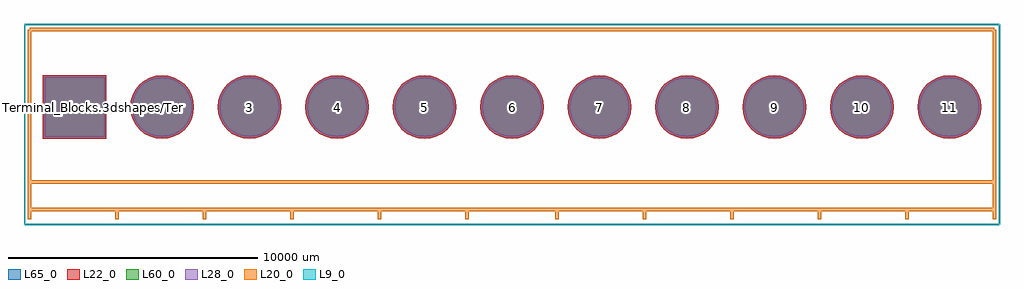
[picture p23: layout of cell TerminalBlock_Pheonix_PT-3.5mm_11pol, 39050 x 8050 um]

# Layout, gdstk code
import gdstk
lib = gdstk.Library(unit=1e-6, precision=1e-09)
def R(c, l, rs):  # rectangles x0, y0, x1, y1
    for r in rs: c.add(gdstk.rectangle(r[:2], r[2:], *l))
def P(c, l, *ps):  # polygons
    for p in ps: c.add(gdstk.Polygon(p, *l))
L9_0 = (9, 0)
L20_0 = (20, 0)
L22_0 = (22, 0)
L28_0 = (28, 0)
L60_0 = (60, 0)
L65_0 = (65, 0)

terminalblock_pheonix_pt = lib.new_cell('TerminalBlock_Pheonix_PT-3.5mm_11pol')
R(terminalblock_pheonix_pt, L22_0, [(-1275,-1275,1275,1275)])
P(terminalblock_pheonix_pt, L22_0, [(36275,0),(36250.501,248.74),(36177.946,487.921),(36060.124,708.352),(35901.561,901.561),(35708.352,1060.124),(35487.921,1177.946),(35248.74,1250.501),(35000,1275),(34751.26,1250.501),(34512.079,1177.946),(34291.648,1060.124),(34098.439,901.561),(33939.876,708.352),(33822.054,487.921),(33749.499,248.74),(33725,0),(33749.499,-248.74),(33822.054,-487.921),(33939.876,-708.352),(34098.439,-901.561),(34291.648,-1060.124),(34512.079,-1177.946),(34751.26,-1250.501),(35000,-1275),(35248.74,-1250.501),(35487.921,-1177.946),(35708.352,-1060.124),(35901.561,-901.561),(36060.124,-708.352),(36177.946,-487.921),(36250.501,-248.74)],
  [(32775,0),(32750.501,248.74),(32677.946,487.921),(32560.124,708.352),(32401.561,901.561),(32208.352,1060.124),(31987.921,1177.946),(31748.74,1250.501),(31500,1275),(31251.26,1250.501),(31012.079,1177.946),(30791.648,1060.124),(30598.439,901.561),(30439.876,708.352),(30322.054,487.921),(30249.499,248.74),(30225,0),(30249.499,-248.74),(30322.054,-487.921),(30439.876,-708.352),(30598.439,-901.561),(30791.648,-1060.124),(31012.079,-1177.946),(31251.26,-1250.501),(31500,-1275),(31748.74,-1250.501),(31987.921,-1177.946),(32208.352,-1060.124),(32401.561,-901.561),(32560.124,-708.352),(32677.946,-487.921),(32750.501,-248.74)],
  [(29275,0),(29250.501,248.74),(29177.946,487.921),(29060.124,708.352),(28901.561,901.561),(28708.352,1060.124),(28487.921,1177.946),(28248.74,1250.501),(28000,1275),(27751.26,1250.501),(27512.079,1177.946),(27291.648,1060.124),(27098.439,901.561),(26939.876,708.352),(26822.054,487.921),(26749.499,248.74),(26725,0),(26749.499,-248.74),(26822.054,-487.921),(26939.876,-708.352),(27098.439,-901.561),(27291.648,-1060.124),(27512.079,-1177.946),(27751.26,-1250.501),(28000,-1275),(28248.74,-1250.501),(28487.921,-1177.946),(28708.352,-1060.124),(28901.561,-901.561),(29060.124,-708.352),(29177.946,-487.921),(29250.501,-248.74)],
  [(25775,0),(25750.501,248.74),(25677.946,487.921),(25560.124,708.352),(25401.561,901.561),(25208.352,1060.124),(24987.921,1177.946),(24748.74,1250.501),(24500,1275),(24251.26,1250.501),(24012.079,1177.946),(23791.648,1060.124),(23598.439,901.561),(23439.876,708.352),(23322.054,487.921),(23249.499,248.74),(23225,0),(23249.499,-248.74),(23322.054,-487.921),(23439.876,-708.352),(23598.439,-901.561),(23791.648,-1060.124),(24012.079,-1177.946),(24251.26,-1250.501),(24500,-1275),(24748.74,-1250.501),(24987.921,-1177.946),(25208.352,-1060.124),(25401.561,-901.561),(25560.124,-708.352),(25677.946,-487.921),(25750.501,-248.74)],
  [(22275,0),(22250.501,248.74),(22177.946,487.921),(22060.124,708.352),(21901.561,901.561),(21708.352,1060.124),(21487.921,1177.946),(21248.74,1250.501),(21000,1275),(20751.26,1250.501),(20512.079,1177.946),(20291.648,1060.124),(20098.439,901.561),(19939.876,708.352),(19822.054,487.921),(19749.499,248.74),(19725,0),(19749.499,-248.74),(19822.054,-487.921),(19939.876,-708.352),(20098.439,-901.561),(20291.648,-1060.124),(20512.079,-1177.946),(20751.26,-1250.501),(21000,-1275),(21248.74,-1250.501),(21487.921,-1177.946),(21708.352,-1060.124),(21901.561,-901.561),(22060.124,-708.352),(22177.946,-487.921),(22250.501,-248.74)],
  [(18775,0),(18750.501,248.74),(18677.946,487.921),(18560.124,708.352),(18401.561,901.561),(18208.352,1060.124),(17987.921,1177.946),(17748.74,1250.501),(17500,1275),(17251.26,1250.501),(17012.079,1177.946),(16791.648,1060.124),(16598.439,901.561),(16439.876,708.352),(16322.054,487.921),(16249.499,248.74),(16225,0),(16249.499,-248.74),(16322.054,-487.921),(16439.876,-708.352),(16598.439,-901.561),(16791.648,-1060.124),(17012.079,-1177.946),(17251.26,-1250.501),(17500,-1275),(17748.74,-1250.501),(17987.921,-1177.946),(18208.352,-1060.124),(18401.561,-901.561),(18560.124,-708.352),(18677.946,-487.921),(18750.501,-248.74)],
  [(15275,0),(15250.501,248.74),(15177.946,487.921),(15060.124,708.352),(14901.561,901.561),(14708.352,1060.124),(14487.921,1177.946),(14248.74,1250.501),(14000,1275),(13751.26,1250.501),(13512.079,1177.946),(13291.648,1060.124),(13098.439,901.561),(12939.876,708.352),(12822.054,487.921),(12749.499,248.74),(12725,0),(12749.499,-248.74),(12822.054,-487.921),(12939.876,-708.352),(13098.439,-901.561),(13291.648,-1060.124),(13512.079,-1177.946),(13751.26,-1250.501),(14000,-1275),(14248.74,-1250.501),(14487.921,-1177.946),(14708.352,-1060.124),(14901.561,-901.561),(15060.124,-708.352),(15177.946,-487.921),(15250.501,-248.74)],
  [(11775,0),(11750.501,248.74),(11677.946,487.921),(11560.124,708.352),(11401.561,901.561),(11208.352,1060.124),(10987.921,1177.946),(10748.74,1250.501),(10500,1275),(10251.26,1250.501),(10012.079,1177.946),(9791.648,1060.124),(9598.439,901.561),(9439.876,708.352),(9322.054,487.921),(9249.499,248.74),(9225,0),(9249.499,-248.74),(9322.054,-487.921),(9439.876,-708.352),(9598.439,-901.561),(9791.648,-1060.124),(10012.079,-1177.946),(10251.26,-1250.501),(10500,-1275),(10748.74,-1250.501),(10987.921,-1177.946),(11208.352,-1060.124),(11401.561,-901.561),(11560.124,-708.352),(11677.946,-487.921),(11750.501,-248.74)],
  [(8275,0),(8250.501,248.74),(8177.946,487.921),(8060.124,708.352),(7901.561,901.561),(7708.352,1060.124),(7487.921,1177.946),(7248.74,1250.501),(7000,1275),(6751.26,1250.501),(6512.079,1177.946),(6291.648,1060.124),(6098.439,901.561),(5939.876,708.352),(5822.054,487.921),(5749.499,248.74),(5725,0),(5749.499,-248.74),(5822.054,-487.921),(5939.876,-708.352),(6098.439,-901.561),(6291.648,-1060.124),(6512.079,-1177.946),(6751.26,-1250.501),(7000,-1275),(7248.74,-1250.501),(7487.921,-1177.946),(7708.352,-1060.124),(7901.561,-901.561),(8060.124,-708.352),(8177.946,-487.921),(8250.501,-248.74)],
  [(4775,0),(4750.501,248.74),(4677.946,487.921),(4560.124,708.352),(4401.561,901.561),(4208.352,1060.124),(3987.921,1177.946),(3748.74,1250.501),(3500,1275),(3251.26,1250.501),(3012.079,1177.946),(2791.648,1060.124),(2598.439,901.561),(2439.876,708.352),(2322.054,487.921),(2249.499,248.74),(2225,0),(2249.499,-248.74),(2322.054,-487.921),(2439.876,-708.352),(2598.439,-901.561),(2791.648,-1060.124),(3012.079,-1177.946),(3251.26,-1250.501),(3500,-1275),(3748.74,-1250.501),(3987.921,-1177.946),(4208.352,-1060.124),(4401.561,-901.561),(4560.124,-708.352),(4677.946,-487.921),(4750.501,-248.74)])
R(terminalblock_pheonix_pt, L28_0, [(-1200,-1200,1200,1200)])
P(terminalblock_pheonix_pt, L28_0, [(36200,0),(36176.942,234.108),(36108.655,459.22),(35997.764,666.684),(35848.528,848.528),(35666.684,997.764),(35459.22,1108.655),(35234.108,1176.942),(35000,1200),(34765.892,1176.942),(34540.78,1108.655),(34333.316,997.764),(34151.472,848.528),(34002.236,666.684),(33891.345,459.22),(33823.058,234.108),(33800,0),(33823.058,-234.108),(33891.345,-459.22),(34002.236,-666.684),(34151.472,-848.528),(34333.316,-997.764),(34540.78,-1108.655),(34765.892,-1176.942),(35000,-1200),(35234.108,-1176.942),(35459.22,-1108.655),(35666.684,-997.764),(35848.528,-848.528),(35997.764,-666.684),(36108.655,-459.22),(36176.942,-234.108)],
  [(32700,0),(32676.942,234.108),(32608.655,459.22),(32497.764,666.684),(32348.528,848.528),(32166.684,997.764),(31959.22,1108.655),(31734.108,1176.942),(31500,1200),(31265.892,1176.942),(31040.78,1108.655),(30833.316,997.764),(30651.472,848.528),(30502.236,666.684),(30391.345,459.22),(30323.058,234.108),(30300,0),(30323.058,-234.108),(30391.345,-459.22),(30502.236,-666.684),(30651.472,-848.528),(30833.316,-997.764),(31040.78,-1108.655),(31265.892,-1176.942),(31500,-1200),(31734.108,-1176.942),(31959.22,-1108.655),(32166.684,-997.764),(32348.528,-848.528),(32497.764,-666.684),(32608.655,-459.22),(32676.942,-234.108)],
  [(29200,0),(29176.942,234.108),(29108.655,459.22),(28997.764,666.684),(28848.528,848.528),(28666.684,997.764),(28459.22,1108.655),(28234.108,1176.942),(28000,1200),(27765.892,1176.942),(27540.78,1108.655),(27333.316,997.764),(27151.472,848.528),(27002.236,666.684),(26891.345,459.22),(26823.058,234.108),(26800,0),(26823.058,-234.108),(26891.345,-459.22),(27002.236,-666.684),(27151.472,-848.528),(27333.316,-997.764),(27540.78,-1108.655),(27765.892,-1176.942),(28000,-1200),(28234.108,-1176.942),(28459.22,-1108.655),(28666.684,-997.764),(28848.528,-848.528),(28997.764,-666.684),(29108.655,-459.22),(29176.942,-234.108)],
  [(25700,0),(25676.942,234.108),(25608.655,459.22),(25497.764,666.684),(25348.528,848.528),(25166.684,997.764),(24959.22,1108.655),(24734.108,1176.942),(24500,1200),(24265.892,1176.942),(24040.78,1108.655),(23833.316,997.764),(23651.472,848.528),(23502.236,666.684),(23391.345,459.22),(23323.058,234.108),(23300,0),(23323.058,-234.108),(23391.345,-459.22),(23502.236,-666.684),(23651.472,-848.528),(23833.316,-997.764),(24040.78,-1108.655),(24265.892,-1176.942),(24500,-1200),(24734.108,-1176.942),(24959.22,-1108.655),(25166.684,-997.764),(25348.528,-848.528),(25497.764,-666.684),(25608.655,-459.22),(25676.942,-234.108)],
  [(22200,0),(22176.942,234.108),(22108.655,459.22),(21997.764,666.684),(21848.528,848.528),(21666.684,997.764),(21459.22,1108.655),(21234.108,1176.942),(21000,1200),(20765.892,1176.942),(20540.78,1108.655),(20333.316,997.764),(20151.472,848.528),(20002.236,666.684),(19891.345,459.22),(19823.058,234.108),(19800,0),(19823.058,-234.108),(19891.345,-459.22),(20002.236,-666.684),(20151.472,-848.528),(20333.316,-997.764),(20540.78,-1108.655),(20765.892,-1176.942),(21000,-1200),(21234.108,-1176.942),(21459.22,-1108.655),(21666.684,-997.764),(21848.528,-848.528),(21997.764,-666.684),(22108.655,-459.22),(22176.942,-234.108)],
  [(18700,0),(18676.942,234.108),(18608.655,459.22),(18497.764,666.684),(18348.528,848.528),(18166.684,997.764),(17959.22,1108.655),(17734.108,1176.942),(17500,1200),(17265.892,1176.942),(17040.78,1108.655),(16833.316,997.764),(16651.472,848.528),(16502.236,666.684),(16391.345,459.22),(16323.058,234.108),(16300,0),(16323.058,-234.108),(16391.345,-459.22),(16502.236,-666.684),(16651.472,-848.528),(16833.316,-997.764),(17040.78,-1108.655),(17265.892,-1176.942),(17500,-1200),(17734.108,-1176.942),(17959.22,-1108.655),(18166.684,-997.764),(18348.528,-848.528),(18497.764,-666.684),(18608.655,-459.22),(18676.942,-234.108)],
  [(15200,0),(15176.942,234.108),(15108.655,459.22),(14997.764,666.684),(14848.528,848.528),(14666.684,997.764),(14459.22,1108.655),(14234.108,1176.942),(14000,1200),(13765.892,1176.942),(13540.78,1108.655),(13333.316,997.764),(13151.472,848.528),(13002.236,666.684),(12891.345,459.22),(12823.058,234.108),(12800,0),(12823.058,-234.108),(12891.345,-459.22),(13002.236,-666.684),(13151.472,-848.528),(13333.316,-997.764),(13540.78,-1108.655),(13765.892,-1176.942),(14000,-1200),(14234.108,-1176.942),(14459.22,-1108.655),(14666.684,-997.764),(14848.528,-848.528),(14997.764,-666.684),(15108.655,-459.22),(15176.942,-234.108)],
  [(11700,0),(11676.942,234.108),(11608.655,459.22),(11497.764,666.684),(11348.528,848.528),(11166.684,997.764),(10959.22,1108.655),(10734.108,1176.942),(10500,1200),(10265.892,1176.942),(10040.78,1108.655),(9833.316,997.764),(9651.472,848.528),(9502.236,666.684),(9391.345,459.22),(9323.058,234.108),(9300,0),(9323.058,-234.108),(9391.345,-459.22),(9502.236,-666.684),(9651.472,-848.528),(9833.316,-997.764),(10040.78,-1108.655),(10265.892,-1176.942),(10500,-1200),(10734.108,-1176.942),(10959.22,-1108.655),(11166.684,-997.764),(11348.528,-848.528),(11497.764,-666.684),(11608.655,-459.22),(11676.942,-234.108)],
  [(8200,0),(8176.942,234.108),(8108.655,459.22),(7997.764,666.684),(7848.528,848.528),(7666.684,997.764),(7459.22,1108.655),(7234.108,1176.942),(7000,1200),(6765.892,1176.942),(6540.78,1108.655),(6333.316,997.764),(6151.472,848.528),(6002.236,666.684),(5891.345,459.22),(5823.058,234.108),(5800,0),(5823.058,-234.108),(5891.345,-459.22),(6002.236,-666.684),(6151.472,-848.528),(6333.316,-997.764),(6540.78,-1108.655),(6765.892,-1176.942),(7000,-1200),(7234.108,-1176.942),(7459.22,-1108.655),(7666.684,-997.764),(7848.528,-848.528),(7997.764,-666.684),(8108.655,-459.22),(8176.942,-234.108)],
  [(4700,0),(4676.942,234.108),(4608.655,459.22),(4497.764,666.684),(4348.528,848.528),(4166.684,997.764),(3959.22,1108.655),(3734.108,1176.942),(3500,1200),(3265.892,1176.942),(3040.78,1108.655),(2833.316,997.764),(2651.472,848.528),(2502.236,666.684),(2391.345,459.22),(2323.058,234.108),(2300,0),(2323.058,-234.108),(2391.345,-459.22),(2502.236,-666.684),(2651.472,-848.528),(2833.316,-997.764),(3040.78,-1108.655),(3265.892,-1176.942),(3500,-1200),(3734.108,-1176.942),(3959.22,-1108.655),(4166.684,-997.764),(4348.528,-848.528),(4497.764,-666.684),(4608.655,-459.22),(4676.942,-234.108)])
R(terminalblock_pheonix_pt, L60_0, [(-1200,-1200,1200,1200)])
P(terminalblock_pheonix_pt, L60_0, [(36200,0),(36176.942,234.108),(36108.655,459.22),(35997.764,666.684),(35848.528,848.528),(35666.684,997.764),(35459.22,1108.655),(35234.108,1176.942),(35000,1200),(34765.892,1176.942),(34540.78,1108.655),(34333.316,997.764),(34151.472,848.528),(34002.236,666.684),(33891.345,459.22),(33823.058,234.108),(33800,0),(33823.058,-234.108),(33891.345,-459.22),(34002.236,-666.684),(34151.472,-848.528),(34333.316,-997.764),(34540.78,-1108.655),(34765.892,-1176.942),(35000,-1200),(35234.108,-1176.942),(35459.22,-1108.655),(35666.684,-997.764),(35848.528,-848.528),(35997.764,-666.684),(36108.655,-459.22),(36176.942,-234.108)],
  [(32700,0),(32676.942,234.108),(32608.655,459.22),(32497.764,666.684),(32348.528,848.528),(32166.684,997.764),(31959.22,1108.655),(31734.108,1176.942),(31500,1200),(31265.892,1176.942),(31040.78,1108.655),(30833.316,997.764),(30651.472,848.528),(30502.236,666.684),(30391.345,459.22),(30323.058,234.108),(30300,0),(30323.058,-234.108),(30391.345,-459.22),(30502.236,-666.684),(30651.472,-848.528),(30833.316,-997.764),(31040.78,-1108.655),(31265.892,-1176.942),(31500,-1200),(31734.108,-1176.942),(31959.22,-1108.655),(32166.684,-997.764),(32348.528,-848.528),(32497.764,-666.684),(32608.655,-459.22),(32676.942,-234.108)],
  [(29200,0),(29176.942,234.108),(29108.655,459.22),(28997.764,666.684),(28848.528,848.528),(28666.684,997.764),(28459.22,1108.655),(28234.108,1176.942),(28000,1200),(27765.892,1176.942),(27540.78,1108.655),(27333.316,997.764),(27151.472,848.528),(27002.236,666.684),(26891.345,459.22),(26823.058,234.108),(26800,0),(26823.058,-234.108),(26891.345,-459.22),(27002.236,-666.684),(27151.472,-848.528),(27333.316,-997.764),(27540.78,-1108.655),(27765.892,-1176.942),(28000,-1200),(28234.108,-1176.942),(28459.22,-1108.655),(28666.684,-997.764),(28848.528,-848.528),(28997.764,-666.684),(29108.655,-459.22),(29176.942,-234.108)],
  [(25700,0),(25676.942,234.108),(25608.655,459.22),(25497.764,666.684),(25348.528,848.528),(25166.684,997.764),(24959.22,1108.655),(24734.108,1176.942),(24500,1200),(24265.892,1176.942),(24040.78,1108.655),(23833.316,997.764),(23651.472,848.528),(23502.236,666.684),(23391.345,459.22),(23323.058,234.108),(23300,0),(23323.058,-234.108),(23391.345,-459.22),(23502.236,-666.684),(23651.472,-848.528),(23833.316,-997.764),(24040.78,-1108.655),(24265.892,-1176.942),(24500,-1200),(24734.108,-1176.942),(24959.22,-1108.655),(25166.684,-997.764),(25348.528,-848.528),(25497.764,-666.684),(25608.655,-459.22),(25676.942,-234.108)],
  [(22200,0),(22176.942,234.108),(22108.655,459.22),(21997.764,666.684),(21848.528,848.528),(21666.684,997.764),(21459.22,1108.655),(21234.108,1176.942),(21000,1200),(20765.892,1176.942),(20540.78,1108.655),(20333.316,997.764),(20151.472,848.528),(20002.236,666.684),(19891.345,459.22),(19823.058,234.108),(19800,0),(19823.058,-234.108),(19891.345,-459.22),(20002.236,-666.684),(20151.472,-848.528),(20333.316,-997.764),(20540.78,-1108.655),(20765.892,-1176.942),(21000,-1200),(21234.108,-1176.942),(21459.22,-1108.655),(21666.684,-997.764),(21848.528,-848.528),(21997.764,-666.684),(22108.655,-459.22),(22176.942,-234.108)],
  [(18700,0),(18676.942,234.108),(18608.655,459.22),(18497.764,666.684),(18348.528,848.528),(18166.684,997.764),(17959.22,1108.655),(17734.108,1176.942),(17500,1200),(17265.892,1176.942),(17040.78,1108.655),(16833.316,997.764),(16651.472,848.528),(16502.236,666.684),(16391.345,459.22),(16323.058,234.108),(16300,0),(16323.058,-234.108),(16391.345,-459.22),(16502.236,-666.684),(16651.472,-848.528),(16833.316,-997.764),(17040.78,-1108.655),(17265.892,-1176.942),(17500,-1200),(17734.108,-1176.942),(17959.22,-1108.655),(18166.684,-997.764),(18348.528,-848.528),(18497.764,-666.684),(18608.655,-459.22),(18676.942,-234.108)],
  [(15200,0),(15176.942,234.108),(15108.655,459.22),(14997.764,666.684),(14848.528,848.528),(14666.684,997.764),(14459.22,1108.655),(14234.108,1176.942),(14000,1200),(13765.892,1176.942),(13540.78,1108.655),(13333.316,997.764),(13151.472,848.528),(13002.236,666.684),(12891.345,459.22),(12823.058,234.108),(12800,0),(12823.058,-234.108),(12891.345,-459.22),(13002.236,-666.684),(13151.472,-848.528),(13333.316,-997.764),(13540.78,-1108.655),(13765.892,-1176.942),(14000,-1200),(14234.108,-1176.942),(14459.22,-1108.655),(14666.684,-997.764),(14848.528,-848.528),(14997.764,-666.684),(15108.655,-459.22),(15176.942,-234.108)],
  [(11700,0),(11676.942,234.108),(11608.655,459.22),(11497.764,666.684),(11348.528,848.528),(11166.684,997.764),(10959.22,1108.655),(10734.108,1176.942),(10500,1200),(10265.892,1176.942),(10040.78,1108.655),(9833.316,997.764),(9651.472,848.528),(9502.236,666.684),(9391.345,459.22),(9323.058,234.108),(9300,0),(9323.058,-234.108),(9391.345,-459.22),(9502.236,-666.684),(9651.472,-848.528),(9833.316,-997.764),(10040.78,-1108.655),(10265.892,-1176.942),(10500,-1200),(10734.108,-1176.942),(10959.22,-1108.655),(11166.684,-997.764),(11348.528,-848.528),(11497.764,-666.684),(11608.655,-459.22),(11676.942,-234.108)],
  [(8200,0),(8176.942,234.108),(8108.655,459.22),(7997.764,666.684),(7848.528,848.528),(7666.684,997.764),(7459.22,1108.655),(7234.108,1176.942),(7000,1200),(6765.892,1176.942),(6540.78,1108.655),(6333.316,997.764),(6151.472,848.528),(6002.236,666.684),(5891.345,459.22),(5823.058,234.108),(5800,0),(5823.058,-234.108),(5891.345,-459.22),(6002.236,-666.684),(6151.472,-848.528),(6333.316,-997.764),(6540.78,-1108.655),(6765.892,-1176.942),(7000,-1200),(7234.108,-1176.942),(7459.22,-1108.655),(7666.684,-997.764),(7848.528,-848.528),(7997.764,-666.684),(8108.655,-459.22),(8176.942,-234.108)],
  [(4700,0),(4676.942,234.108),(4608.655,459.22),(4497.764,666.684),(4348.528,848.528),(4166.684,997.764),(3959.22,1108.655),(3734.108,1176.942),(3500,1200),(3265.892,1176.942),(3040.78,1108.655),(2833.316,997.764),(2651.472,848.528),(2502.236,666.684),(2391.345,459.22),(2323.058,234.108),(2300,0),(2323.058,-234.108),(2391.345,-459.22),(2502.236,-666.684),(2651.472,-848.528),(2833.316,-997.764),(3040.78,-1108.655),(3265.892,-1176.942),(3500,-1200),(3734.108,-1176.942),(3959.22,-1108.655),(4166.684,-997.764),(4348.528,-848.528),(4497.764,-666.684),(4608.655,-459.22),(4676.942,-234.108)])
R(terminalblock_pheonix_pt, L65_0, [(-1275,-1275,1275,1275)])
P(terminalblock_pheonix_pt, L65_0, [(36275,0),(36250.501,248.74),(36177.946,487.921),(36060.124,708.352),(35901.561,901.561),(35708.352,1060.124),(35487.921,1177.946),(35248.74,1250.501),(35000,1275),(34751.26,1250.501),(34512.079,1177.946),(34291.648,1060.124),(34098.439,901.561),(33939.876,708.352),(33822.054,487.921),(33749.499,248.74),(33725,0),(33749.499,-248.74),(33822.054,-487.921),(33939.876,-708.352),(34098.439,-901.561),(34291.648,-1060.124),(34512.079,-1177.946),(34751.26,-1250.501),(35000,-1275),(35248.74,-1250.501),(35487.921,-1177.946),(35708.352,-1060.124),(35901.561,-901.561),(36060.124,-708.352),(36177.946,-487.921),(36250.501,-248.74)],
  [(32775,0),(32750.501,248.74),(32677.946,487.921),(32560.124,708.352),(32401.561,901.561),(32208.352,1060.124),(31987.921,1177.946),(31748.74,1250.501),(31500,1275),(31251.26,1250.501),(31012.079,1177.946),(30791.648,1060.124),(30598.439,901.561),(30439.876,708.352),(30322.054,487.921),(30249.499,248.74),(30225,0),(30249.499,-248.74),(30322.054,-487.921),(30439.876,-708.352),(30598.439,-901.561),(30791.648,-1060.124),(31012.079,-1177.946),(31251.26,-1250.501),(31500,-1275),(31748.74,-1250.501),(31987.921,-1177.946),(32208.352,-1060.124),(32401.561,-901.561),(32560.124,-708.352),(32677.946,-487.921),(32750.501,-248.74)],
  [(29275,0),(29250.501,248.74),(29177.946,487.921),(29060.124,708.352),(28901.561,901.561),(28708.352,1060.124),(28487.921,1177.946),(28248.74,1250.501),(28000,1275),(27751.26,1250.501),(27512.079,1177.946),(27291.648,1060.124),(27098.439,901.561),(26939.876,708.352),(26822.054,487.921),(26749.499,248.74),(26725,0),(26749.499,-248.74),(26822.054,-487.921),(26939.876,-708.352),(27098.439,-901.561),(27291.648,-1060.124),(27512.079,-1177.946),(27751.26,-1250.501),(28000,-1275),(28248.74,-1250.501),(28487.921,-1177.946),(28708.352,-1060.124),(28901.561,-901.561),(29060.124,-708.352),(29177.946,-487.921),(29250.501,-248.74)],
  [(25775,0),(25750.501,248.74),(25677.946,487.921),(25560.124,708.352),(25401.561,901.561),(25208.352,1060.124),(24987.921,1177.946),(24748.74,1250.501),(24500,1275),(24251.26,1250.501),(24012.079,1177.946),(23791.648,1060.124),(23598.439,901.561),(23439.876,708.352),(23322.054,487.921),(23249.499,248.74),(23225,0),(23249.499,-248.74),(23322.054,-487.921),(23439.876,-708.352),(23598.439,-901.561),(23791.648,-1060.124),(24012.079,-1177.946),(24251.26,-1250.501),(24500,-1275),(24748.74,-1250.501),(24987.921,-1177.946),(25208.352,-1060.124),(25401.561,-901.561),(25560.124,-708.352),(25677.946,-487.921),(25750.501,-248.74)],
  [(22275,0),(22250.501,248.74),(22177.946,487.921),(22060.124,708.352),(21901.561,901.561),(21708.352,1060.124),(21487.921,1177.946),(21248.74,1250.501),(21000,1275),(20751.26,1250.501),(20512.079,1177.946),(20291.648,1060.124),(20098.439,901.561),(19939.876,708.352),(19822.054,487.921),(19749.499,248.74),(19725,0),(19749.499,-248.74),(19822.054,-487.921),(19939.876,-708.352),(20098.439,-901.561),(20291.648,-1060.124),(20512.079,-1177.946),(20751.26,-1250.501),(21000,-1275),(21248.74,-1250.501),(21487.921,-1177.946),(21708.352,-1060.124),(21901.561,-901.561),(22060.124,-708.352),(22177.946,-487.921),(22250.501,-248.74)],
  [(18775,0),(18750.501,248.74),(18677.946,487.921),(18560.124,708.352),(18401.561,901.561),(18208.352,1060.124),(17987.921,1177.946),(17748.74,1250.501),(17500,1275),(17251.26,1250.501),(17012.079,1177.946),(16791.648,1060.124),(16598.439,901.561),(16439.876,708.352),(16322.054,487.921),(16249.499,248.74),(16225,0),(16249.499,-248.74),(16322.054,-487.921),(16439.876,-708.352),(16598.439,-901.561),(16791.648,-1060.124),(17012.079,-1177.946),(17251.26,-1250.501),(17500,-1275),(17748.74,-1250.501),(17987.921,-1177.946),(18208.352,-1060.124),(18401.561,-901.561),(18560.124,-708.352),(18677.946,-487.921),(18750.501,-248.74)],
  [(15275,0),(15250.501,248.74),(15177.946,487.921),(15060.124,708.352),(14901.561,901.561),(14708.352,1060.124),(14487.921,1177.946),(14248.74,1250.501),(14000,1275),(13751.26,1250.501),(13512.079,1177.946),(13291.648,1060.124),(13098.439,901.561),(12939.876,708.352),(12822.054,487.921),(12749.499,248.74),(12725,0),(12749.499,-248.74),(12822.054,-487.921),(12939.876,-708.352),(13098.439,-901.561),(13291.648,-1060.124),(13512.079,-1177.946),(13751.26,-1250.501),(14000,-1275),(14248.74,-1250.501),(14487.921,-1177.946),(14708.352,-1060.124),(14901.561,-901.561),(15060.124,-708.352),(15177.946,-487.921),(15250.501,-248.74)],
  [(11775,0),(11750.501,248.74),(11677.946,487.921),(11560.124,708.352),(11401.561,901.561),(11208.352,1060.124),(10987.921,1177.946),(10748.74,1250.501),(10500,1275),(10251.26,1250.501),(10012.079,1177.946),(9791.648,1060.124),(9598.439,901.561),(9439.876,708.352),(9322.054,487.921),(9249.499,248.74),(9225,0),(9249.499,-248.74),(9322.054,-487.921),(9439.876,-708.352),(9598.439,-901.561),(9791.648,-1060.124),(10012.079,-1177.946),(10251.26,-1250.501),(10500,-1275),(10748.74,-1250.501),(10987.921,-1177.946),(11208.352,-1060.124),(11401.561,-901.561),(11560.124,-708.352),(11677.946,-487.921),(11750.501,-248.74)],
  [(8275,0),(8250.501,248.74),(8177.946,487.921),(8060.124,708.352),(7901.561,901.561),(7708.352,1060.124),(7487.921,1177.946),(7248.74,1250.501),(7000,1275),(6751.26,1250.501),(6512.079,1177.946),(6291.648,1060.124),(6098.439,901.561),(5939.876,708.352),(5822.054,487.921),(5749.499,248.74),(5725,0),(5749.499,-248.74),(5822.054,-487.921),(5939.876,-708.352),(6098.439,-901.561),(6291.648,-1060.124),(6512.079,-1177.946),(6751.26,-1250.501),(7000,-1275),(7248.74,-1250.501),(7487.921,-1177.946),(7708.352,-1060.124),(7901.561,-901.561),(8060.124,-708.352),(8177.946,-487.921),(8250.501,-248.74)],
  [(4775,0),(4750.501,248.74),(4677.946,487.921),(4560.124,708.352),(4401.561,901.561),(4208.352,1060.124),(3987.921,1177.946),(3748.74,1250.501),(3500,1275),(3251.26,1250.501),(3012.079,1177.946),(2791.648,1060.124),(2598.439,901.561),(2439.876,708.352),(2322.054,487.921),(2249.499,248.74),(2225,0),(2249.499,-248.74),(2322.054,-487.921),(2439.876,-708.352),(2598.439,-901.561),(2791.648,-1060.124),(3012.079,-1177.946),(3251.26,-1250.501),(3500,-1275),(3748.74,-1250.501),(3987.921,-1177.946),(4208.352,-1060.124),(4401.561,-901.561),(4560.124,-708.352),(4677.946,-487.921),(4750.501,-248.74)])
terminalblock_pheonix_pt.add(gdstk.FlexPath([(36800,3100),(-1800,3100)], 149.998, ends="flush", simple_path=True, layer=20, datatype=0))  # L20_0
terminalblock_pheonix_pt.add(gdstk.FlexPath([(36800,-4500),(36800,3100)], 149.998, ends="flush", simple_path=True, layer=20, datatype=0))  # L20_0
terminalblock_pheonix_pt.add(gdstk.FlexPath([(-1800,3100),(-1800,-4500)], 149.998, ends="flush", simple_path=True, layer=20, datatype=0))  # L20_0
terminalblock_pheonix_pt.add(gdstk.FlexPath([(-1800,-4100),(36800,-4100)], 149.998, ends="flush", simple_path=True, layer=20, datatype=0))  # L20_0
terminalblock_pheonix_pt.add(gdstk.FlexPath([(-1800,-3000),(36800,-3000)], 149.998, ends="flush", simple_path=True, layer=20, datatype=0))  # L20_0
terminalblock_pheonix_pt.add(gdstk.FlexPath([(5200,-4100),(5200,-4500)], 149.998, ends="flush", simple_path=True, layer=20, datatype=0))  # L20_0
terminalblock_pheonix_pt.add(gdstk.FlexPath([(1700,-4100),(1700,-4500)], 149.998, ends="flush", simple_path=True, layer=20, datatype=0))  # L20_0
terminalblock_pheonix_pt.add(gdstk.FlexPath([(8700,-4100),(8700,-4500)], 149.998, ends="flush", simple_path=True, layer=20, datatype=0))  # L20_0
terminalblock_pheonix_pt.add(gdstk.FlexPath([(19300,-4100),(19300,-4500)], 149.998, ends="flush", simple_path=True, layer=20, datatype=0))  # L20_0
terminalblock_pheonix_pt.add(gdstk.FlexPath([(26300,-4100),(26300,-4500)], 149.998, ends="flush", simple_path=True, layer=20, datatype=0))  # L20_0
terminalblock_pheonix_pt.add(gdstk.FlexPath([(22800,-4100),(22800,-4500)], 149.998, ends="flush", simple_path=True, layer=20, datatype=0))  # L20_0
terminalblock_pheonix_pt.add(gdstk.FlexPath([(29800,-4100),(29800,-4500)], 149.998, ends="flush", simple_path=True, layer=20, datatype=0))  # L20_0
terminalblock_pheonix_pt.add(gdstk.FlexPath([(12200,-4100),(12200,-4500)], 149.998, ends="flush", simple_path=True, layer=20, datatype=0))  # L20_0
terminalblock_pheonix_pt.add(gdstk.FlexPath([(15700,-4100),(15700,-4500)], 149.998, ends="flush", simple_path=True, layer=20, datatype=0))  # L20_0
terminalblock_pheonix_pt.add(gdstk.FlexPath([(33300,-4100),(33300,-4500)], 149.998, ends="flush", simple_path=True, layer=20, datatype=0))  # L20_0
terminalblock_pheonix_pt.add(gdstk.FlexPath([(37000,3300),(37000,-4700)], 50, ends="flush", simple_path=True, layer=9, datatype=0))  # L9_0
terminalblock_pheonix_pt.add(gdstk.FlexPath([(37000,-4700),(-2000,-4700)], 50, ends="flush", simple_path=True, layer=9, datatype=0))  # L9_0
terminalblock_pheonix_pt.add(gdstk.FlexPath([(-2000,-4700),(-2000,3300)], 50, ends="flush", simple_path=True, layer=9, datatype=0))  # L9_0
terminalblock_pheonix_pt.add(gdstk.FlexPath([(-2000,3300),(37000,3300)], 50, ends="flush", simple_path=True, layer=9, datatype=0))  # L9_0
terminalblock_pheonix_pt.add(gdstk.Label('Terminal_Blocks.3dshapes/TerminalBlock_Pheonix_PT-3.5mm_11pol.wrl', (0,0), layer=12, texttype=0))
terminalblock_pheonix_pt.add(gdstk.Label('11', (35000,0), layer=28, texttype=0))
terminalblock_pheonix_pt.add(gdstk.Label('10', (31500,0), layer=28, texttype=0))
terminalblock_pheonix_pt.add(gdstk.Label('9', (28000,0), layer=28, texttype=0))
terminalblock_pheonix_pt.add(gdstk.Label('8', (24500,0), layer=28, texttype=0))
terminalblock_pheonix_pt.add(gdstk.Label('7', (21000,0), layer=28, texttype=0))
terminalblock_pheonix_pt.add(gdstk.Label('6', (17500,0), layer=28, texttype=0))
terminalblock_pheonix_pt.add(gdstk.Label('5', (14000,0), layer=28, texttype=0))
terminalblock_pheonix_pt.add(gdstk.Label('4', (10500,0), layer=28, texttype=0))
terminalblock_pheonix_pt.add(gdstk.Label('3', (7000,0), layer=28, texttype=0))
terminalblock_pheonix_pt.add(gdstk.Label('1', (0,0), layer=28, texttype=0))
terminalblock_pheonix_pt.add(gdstk.Label('2', (3500,0), layer=28, texttype=0))
terminalblock_pheonix_pt.add(gdstk.Label('type', (17500,-6000), layer=9, texttype=0))
terminalblock_pheonix_pt.add(gdstk.Label('devicename', (17500,4300), layer=9, texttype=0))

lib.write_gds('TerminalBlock_Pheonix_PT-3.5mm_11pol.gds')
